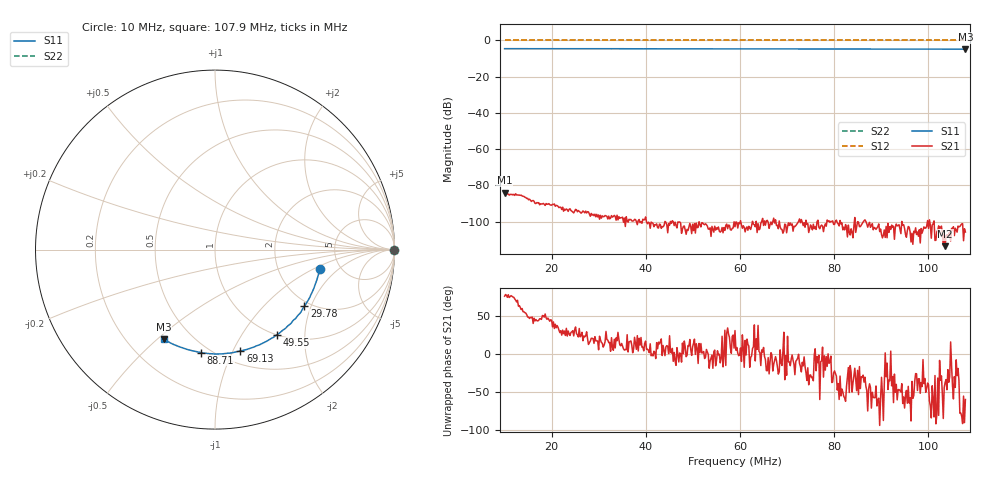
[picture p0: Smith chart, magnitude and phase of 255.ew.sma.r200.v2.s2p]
! Anritsu VNA Master:  Model: MS2036C/10/77
! SN:  1601066
! /card0/usr/255.ew.sma.r200.v2.s2p
! Existing Calibration Information:
! TYPE:  Current Settings,  Active Cal Settings
! TIME:  12/17/2017 06:18:46 PM,  12/17/2017 06:11:23 PM
! INTERNAL TEMP:  43.8 C,  43.8 C
! # POINTS:  501,  501
! START FREQ:  10.000 MHz,  10.000 MHz
! STOP FREQ:  107.903 125 MHz,  107.903 125 MHz
! SOURCE POWER:  High,  High
! IFBW:  100 Hz,  100 Hz
! AVG FACTOR:  1 ,  1
! REF PLANE 1:  0 mm,  0 mm
! REF PLANE 2:  0 mm,  0 mm
! CAL TYPE:  Full S11,  Full S11
! CAL METHOD:  SOLT,  SOLT
! CAL LINE TYPE:  Coax,  Coax
! DUT PORT 1:  K-Conn(F),  K-Conn(F)
! DUT PORT 2:  K-Conn(F),  K-Conn(F)
! CAL STATUS:  OK: Accuracy High,  --
# GHZ S DB R 50.0
! FREQ.GHZ  S11DB  S11A  S21DB  S21A  S12DB  S12A  S22DB  S22A
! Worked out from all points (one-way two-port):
!   501 points, 10 MHz to 107.9 MHz, reference 50 ohm
!   highest |S21| = -84.02 dB at 10 MHz (marker M1); lowest = -113.5 dB at 103.6 MHz (marker M2)
!   lowest |S11| = -4.8 dB at 107.9 MHz (marker M3), VSWR 3.71, Z = 17.6 - j26.3 ohm
!   |S11| at or under -10 dB: nowhere
!   |S22| runs from 0.0 to 0.0 dB; largest |S21 - S12| = 1
!   S11 on the Smith chart (normalised r, x): 10 MHz: 3.48, -1.18; 29.78 MHz: 1.85, -1.79; 49.55 MHz: 1.00, -1.45; 69.13 MHz: 0.63, -1.07; 88.71 MHz: 0.45, -0.77; 107.9 MHz: 0.35, -0.53
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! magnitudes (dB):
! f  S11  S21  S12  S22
! 10 MHz  -4.5  -84.0  0.0  0.0
! 26.45 MHz  -4.6  -94.8  0.0  0.0
! 29.78 MHz  -4.6  -97.4  0.0  0.0
! 30.95 MHz  -4.6  -97.3  0.0  0.0
! 33.3 MHz  -4.6  -96.5  0.0  0.0
! 35.45 MHz  -4.6  -98.0  0.0  0.0
! 37.22 MHz  -4.6  -99.6  0.0  0.0
! 38.59 MHz  -4.6  -98.8  0.0  0.0
! 40.55 MHz  -4.6  -100.3  0.0  0.0
! 42.7 MHz  -4.6  -103.5  0.0  0.0
! 44.27 MHz  -4.6  -100.3  0.0  0.0
! 46.03 MHz  -4.6  -102.1  0.0  0.0
! 49.55 MHz  -4.6  -102.8  0.0  0.0
! 59.15 MHz  -4.6  -100.1  0.0  0.0
! 69.13 MHz  -4.7  -106.3  0.0  0.0
! 75.4 MHz  -4.7  -104.5  0.0  0.0
! 81.08 MHz  -4.7  -102.3  0.0  0.0
! 83.23 MHz  -4.7  -106.0  0.0  0.0
! 88.71 MHz  -4.7  -103.5  0.0  0.0
! 91.65 MHz  -4.8  -105.9  0.0  0.0
! 103.6 MHz  -4.8  -113.5  0.0  0.0
! 107.9 MHz  -4.8  -105.7  0.0  0.0
